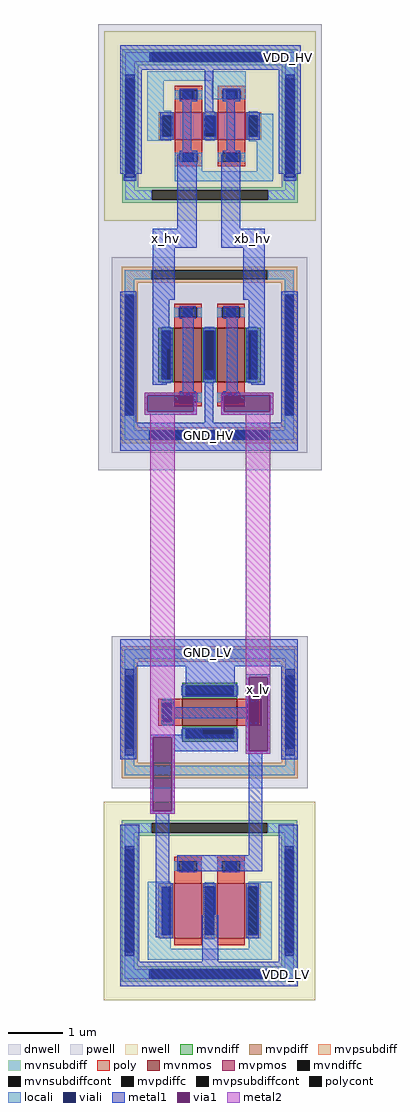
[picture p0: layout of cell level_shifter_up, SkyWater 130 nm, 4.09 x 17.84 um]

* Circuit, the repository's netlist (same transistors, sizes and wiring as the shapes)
** sch_path: /foss/designs/sky130_ak_ip__comparator/xschem/level_shifter_up.sch
.subckt level_shifter_up VDD_HV GND_HV x_lv x_hv xb_hv VDD_LV
*.PININFO VDD_HV:I GND_HV:I x_lv:I x_hv:O xb_hv:O VDD_LV:I
XM65 xb_hv x_lv GND_HV GND_HV sky130_fd_pr__nfet_g5v0d10v5 L=0.5 W=1 nf=1 m=1
XM66 x_hv xb_lv GND_HV GND_HV sky130_fd_pr__nfet_g5v0d10v5 L=0.5 W=1 nf=1 m=1
XM67 xb_hv x_hv VDD_HV VDD_HV sky130_fd_pr__pfet_g5v0d10v5 L=0.5 W=0.5 nf=1 m=1
XM68 x_hv xb_hv VDD_HV VDD_HV sky130_fd_pr__pfet_g5v0d10v5 L=0.5 W=0.5 nf=1 m=1
XM1 xb_lv x_lv GND_HV GND_HV sky130_fd_pr__nfet_g5v0d10v5 L=0.5 W=1 nf=1 m=1
XM3 xb_lv x_lv VDD_LV VDD_LV sky130_fd_pr__pfet_g5v0d10v5 L=0.5 W=2 nf=1 m=1
.ends
.end

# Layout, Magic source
magic
tech sky130A
magscale 1 2
<< dnwell >>
rect 210 236 1028 1868
<< nwell >>
rect 290 -1560 360 -1060
rect 870 -1560 940 -1060
rect 290 -1650 940 -1560
<< locali >>
rect 390 1660 750 1696
rect 390 1550 450 1660
rect 626 1592 750 1660
rect 390 1442 478 1550
rect 760 1440 850 1540
rect 490 1330 590 1398
rect 790 1330 850 1440
rect 490 1300 850 1330
rect 490 1294 848 1300
rect 392 -1512 476 -1268
rect 760 -1512 844 -1268
rect 392 -1552 844 -1512
<< metal1 >>
rect 290 1700 950 1790
rect 290 1320 370 1700
rect 520 1390 550 1620
rect 600 1470 630 1700
rect 680 1390 710 1620
rect 500 1120 570 1390
rect 410 1050 570 1120
rect 660 1120 730 1390
rect 870 1320 950 1700
rect 660 1050 820 1120
rect 290 410 350 890
rect 410 860 490 1050
rect 740 860 820 1050
rect 410 680 470 860
rect 410 550 460 680
rect 520 520 560 830
rect 380 510 570 520
rect 380 450 390 510
rect 560 450 570 510
rect 380 440 570 450
rect 600 410 630 600
rect 680 520 720 830
rect 760 740 820 860
rect 770 550 820 740
rect 660 510 850 520
rect 660 450 670 510
rect 840 450 850 510
rect 660 440 850 450
rect 880 410 940 890
rect 290 308 940 410
rect 290 -480 940 -382
rect 290 -820 350 -480
rect 530 -580 710 -480
rect 750 -520 840 -510
rect 750 -630 760 -520
rect 450 -670 760 -630
rect 530 -730 590 -710
rect 400 -740 710 -730
rect 400 -1010 410 -740
rect 480 -790 720 -740
rect 750 -790 760 -670
rect 830 -790 840 -520
rect 480 -1010 490 -790
rect 750 -800 840 -790
rect 400 -1020 490 -1010
rect 290 -1560 360 -1060
rect 420 -1470 470 -1020
rect 760 -1170 810 -800
rect 880 -820 940 -480
rect 500 -1230 810 -1170
rect 600 -1390 630 -1290
rect 590 -1560 650 -1390
rect 870 -1560 940 -1060
rect 290 -1650 940 -1560
<< via1 >>
rect 390 450 560 510
rect 670 450 840 510
rect 410 -1010 480 -740
rect 760 -790 830 -520
<< metal2 >>
rect 380 510 570 520
rect 380 450 390 510
rect 560 450 570 510
rect 380 440 570 450
rect 660 510 850 520
rect 660 450 670 510
rect 840 450 850 510
rect 660 440 850 450
rect 400 -740 490 440
rect 400 -1010 410 -740
rect 480 -1010 490 -740
rect 750 -520 840 440
rect 750 -790 760 -520
rect 830 -790 840 -520
rect 750 -800 840 -790
rect 400 -1020 490 -1010
use sky130_fd_pr__nfet_g5v0d10v5_C5EREZ  sky130_fd_pr__nfet_g5v0d10v5_C5EREZ_0 paramcells
transform 0 1 618 -1 0 -648
box -278 -358 278 358
use sky130_fd_pr__nfet_g5v0d10v5_S48KL6  sky130_fd_pr__nfet_g5v0d10v5_S48KL6_0 paramcells
transform 1 0 617 0 1 658
box -357 -358 357 358
use sky130_fd_pr__pfet_g5v0d10v5_4V4BDM  sky130_fd_pr__pfet_g5v0d10v5_4V4BDM_0 paramcells
transform 1 0 619 0 1 1495
box -387 -347 387 347
use sky130_fd_pr__pfet_g5v0d10v5_8T5BGA  sky130_fd_pr__pfet_g5v0d10v5_8T5BGA_0 paramcells
transform 1 0 617 0 1 -1338
box -387 -362 387 362
<< labels >>
flabel via1 760 -600 830 -530 0 FreeSans 320 0 0 0 x_lv
port 2 nsew
flabel metal1 860 -1640 930 -1570 0 FreeSans 320 0 0 0 VDD_LV
port 5 nsew
flabel metal1 870 1710 940 1780 0 FreeSans 320 0 0 0 VDD_HV
port 0 nsew
flabel metal1 576 -466 646 -396 0 FreeSans 320 0 0 0 GND_LV
port 6 nsew
flabel metal1 740 1050 810 1120 0 FreeSans 320 0 0 0 xb_hv
port 4 nsew
flabel metal1 420 1050 490 1120 0 FreeSans 320 0 0 0 x_hv
port 3 nsew
flabel metal1 580 330 650 400 0 FreeSans 320 0 0 0 GND_HV
port 1 nsew
<< end >>

# cell sky130_fd_pr__nfet_g5v0d10v5_C5EREZ: kit device sky130_fd_pr__nfet_g5v0d10v5, w 1 l 0.50 m 1 nf 1 diffcov 100 polycov 100 guard 1 glc 1 grc 1 gtc 1 gbc 1 tbcov 100 rlcov 0 topc 1 botc 1 poverlap 0 doverlap 1 lmin 0.50 wmin 0.42 compatible {sky130_fd_pr__nfet_01v8 sky130_fd_pr__nfet_01v8_lvt sky130_fd_bs_flash__special_sonosfet_star sky130_fd_pr__nfet_g5v0d10v5 sky130_fd_pr__nfet_05v0_nvt sky130_fd_pr__nfet_03v3_nvt} full_metal 1 viasrc 100 viadrn 100 viagate 100 viagb 80 viagr 0 viagl 0 viagt 80

# cell sky130_fd_pr__nfet_g5v0d10v5_S48KL6: kit device sky130_fd_pr__nfet_g5v0d10v5, w 1 l 0.50 m 1 nf 2 diffcov 100 polycov 100 guard 1 glc 1 grc 1 gtc 1 gbc 1 tbcov 100 rlcov 100 topc 1 botc 1 poverlap 0 doverlap 1 lmin 0.50 wmin 0.42 compatible {sky130_fd_pr__nfet_01v8 sky130_fd_pr__nfet_01v8_lvt sky130_fd_bs_flash__special_sonosfet_star sky130_fd_pr__nfet_g5v0d10v5 sky130_fd_pr__nfet_05v0_nvt sky130_fd_pr__nfet_03v3_nvt} full_metal 1 viasrc 100 viadrn 100 viagate 50 viagb 80 viagr 80 viagl 80 viagt 0

# cell sky130_fd_pr__pfet_g5v0d10v5_4V4BDM: kit device sky130_fd_pr__pfet_g5v0d10v5, w 0.5 l 0.50 m 1 nf 2 diffcov 100 polycov 100 guard 1 glc 1 grc 1 gtc 1 gbc 1 tbcov 100 rlcov 100 topc 1 botc 1 poverlap 0 doverlap 1 lmin 0.50 wmin 0.42 compatible {sky130_fd_pr__pfet_01v8 sky130_fd_pr__pfet_01v8_lvt sky130_fd_pr__pfet_01v8_hvt sky130_fd_pr__pfet_g5v0d10v5} full_metal 1 viasrc 100 viadrn 100 viagate 60 viagb 0 viagr 80 viagl 80 viagt 80

# cell sky130_fd_pr__pfet_g5v0d10v5_8T5BGA: kit device sky130_fd_pr__pfet_g5v0d10v5, w 1 l 0.50 m 1 nf 2 diffcov 100 polycov 100 guard 1 glc 1 grc 1 gtc 1 gbc 1 tbcov 100 rlcov 100 topc 1 botc 0 poverlap 0 doverlap 1 lmin 0.50 wmin 0.42 compatible {sky130_fd_pr__pfet_01v8 sky130_fd_pr__pfet_01v8_lvt sky130_fd_pr__pfet_01v8_hvt sky130_fd_pr__pfet_g5v0d10v5} full_metal 1 viasrc 100 viadrn 100 viagate 60 viagb 80 viagr 80 viagl 80 viagt 0
